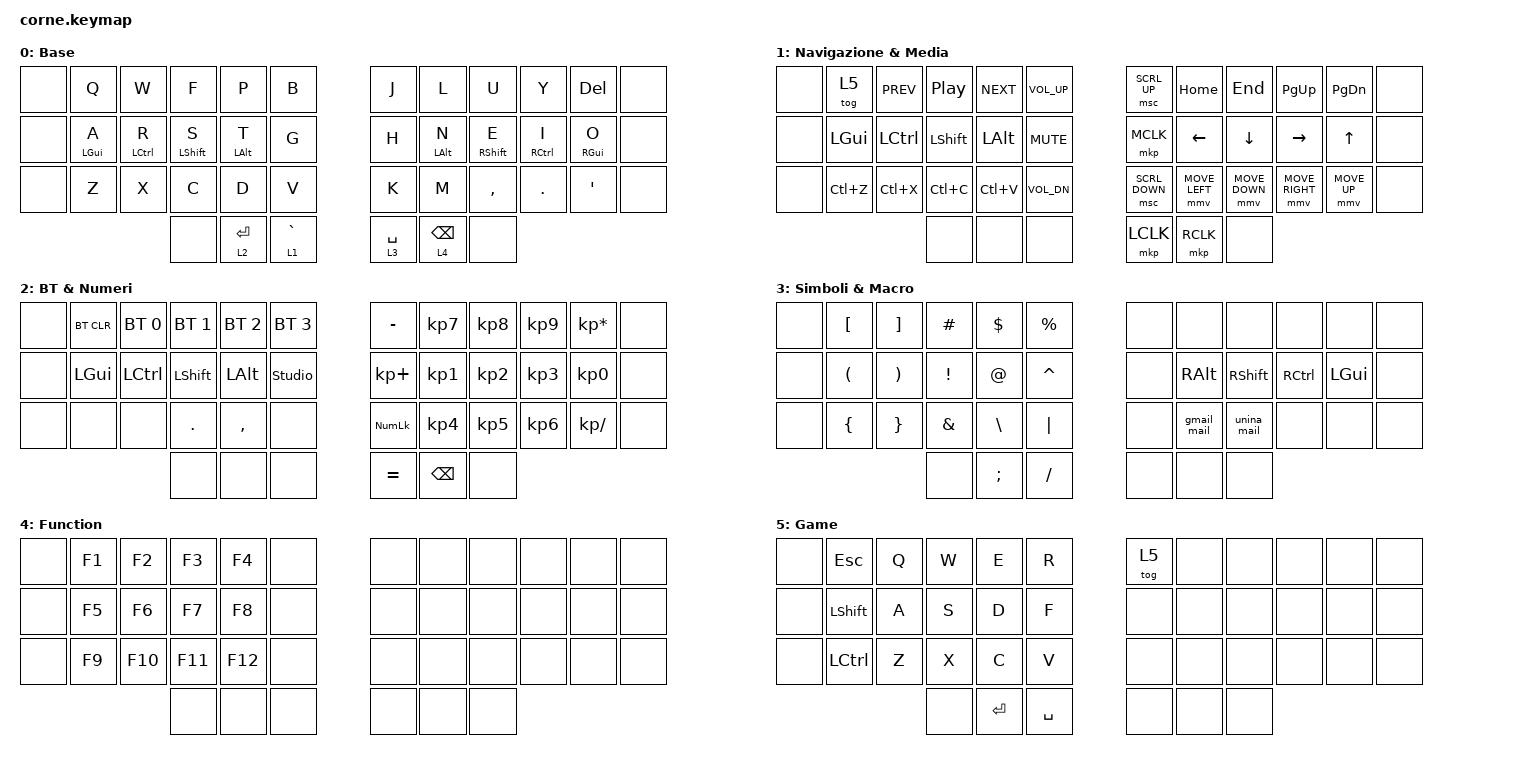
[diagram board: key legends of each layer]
/*
 * Copyright (c) 2020 The ZMK Contributors
 *
 * SPDX-License-Identifier: MIT
 */

#include <behaviors.dtsi>
#include <dt-bindings/zmk/keys.h>
#include <dt-bindings/zmk/bt.h>
#include <dt-bindings/zmk/pointing.h>

#define default_layer 0
#define navmed_layer 1
#define btnump_layer 2
#define symbol_layer 3
#define function_layer 4
#define game_layer 5

/ {
    combos {
        compatible = "zmk,combos";
        combo_esc {
            timeout-ms = <50>;
            key-positions = <3 4>;
            bindings = <&kp ESC>;
        };
        combo_tab {
            timeout-ms = <50>;
            key-positions = <2 3>;
            bindings = <&kp TAB>;
        };
        combo_caps {
            timeout-ms = <50>;
            key-positions = <2 3 4>;
            bindings = <&kp CAPS>;
        };
    }; 
    
    behaviors {
        hm: homerow_mods {
            compatible = "zmk,behavior-hold-tap";
            label = "HOMEROW_MODS";
            #binding-cells = <2>;
            tapping-term-ms = <200>;
            quick-tap-ms = <0>;
            flavor = "tap-preferred";
            bindings = <&kp>, <&kp>;
        };
    };
    
    macros {
        ZMK_MACRO(gmail_mail,
            tap-ms = <30>;
            bindings
                = <&kp D &kp E &kp S &kp A &kp N &kp F &kp R &kp A &kp N>
                , <&kp AT>
                , <&kp G &kp M &kp A &kp I &kp L>
                , <&kp DOT>
                , <&kp C &kp O &kp M>
                ;
        )
        ZMK_MACRO(unina_mail,
            tap-ms = <30>;
            bindings
                = <&kp F &kp R &kp A &kp N &kp C &kp E &kp S &kp C &kp O>
                , <&kp DOT>
                , <&kp D &kp E &kp S &kp A &kp N &kp T &kp I &kp S &kp KP_N2>
                , <&kp AT>
                , <&kp U &kp N &kp I &kp N &kp A>
                , <&kp DOT>
                , <&kp I &kp T>
                ;
        )
    };

    keymap {
        compatible = "zmk,keymap";
        
                default_layer {
                        display-name = "Base";
                        bindings = <
   &none  &kp Q      &kp W       &kp F       &kp P       &kp B          &kp J       &kp L       &kp U       &kp Y       &kp DEL    &none
   &none  &hm LGUI A &hm LCTRL R &hm LSHFT S &hm LALT T  &kp G          &kp H       &hm LALT N  &hm RSHFT E &hm RCTRL I &hm RGUI O &none
   &none  &kp Z      &kp X       &kp C       &kp D       &kp V          &kp K       &kp M       &kp COMMA   &kp DOT     &kp APOS   &none
                                 &none       &lt 2 RET   &lt 1 GRAVE    &lt 3 SPACE &lt 4 BSPC  &none
                        >;
                };
                
                navmed_layer {
                        display-name = "Navigazione & Media";
                        bindings = <
   &none  &tog 5     &kp C_PREV  &kp C_PP   &kp C_NEXT  &kp C_VOL_UP    &msc SCRL_UP    &kp HOME        &kp END         &kp PG_UP        &kp PG_DN     &none
   &none  &kp LGUI   &kp LCTRL   &kp LSHFT  &kp LALT    &kp C_MUTE      &mkp MCLK       &kp LEFT        &kp DOWN        &kp RIGHT        &kp UP        &none
   &none  &kp LC(Z)  &kp LC(X)   &kp LC(C)  &kp LC(V)   &kp C_VOL_DN    &msc SCRL_DOWN  &mmv MOVE_LEFT  &mmv MOVE_DOWN  &mmv MOVE_RIGHT  &mmv MOVE_UP  &none
                   	             &none      &none       &none           &mkp LCLK       &mkp RCLK       &none
                        >;
                };
                
                btnump_layer {
                        display-name = "BT & Numeri";
                        bindings = <
   &none &bt BT_CLR &bt BT_SEL 0 &bt BT_SEL 1 &bt BT_SEL 2 &bt BT_SEL 3      &kp MINUS   &kp KP_N7 &kp KP_N8 &kp KP_N9 &kp KP_MULTIPLY &none
   &none &kp LGUI   &kp LCTRL    &kp LSHFT    &kp LALT     &studio_unlock    &kp KP_PLUS &kp KP_N1 &kp KP_N2 &kp KP_N3 &kp KP_N0       &none
   &none &none      &none        &kp DOT      &kp COMMA    &none             &kp KP_NUM  &kp KP_N4 &kp KP_N5 &kp KP_N6 &kp KP_DIVIDE   &none
                                 &none        &none        &none             &kp EQUAL   &kp BSPC  &none
                        >;
                };

                symbol_layer {
                        display-name = "Simboli & Macro";
                        bindings = <
   &none &kp LBKT &kp RBKT &kp HASH &kp DLLR &kp PRCNT   &none &none       &none       &none     &none    &none
   &none &kp LPAR &kp RPAR &kp EXCL &kp AT   &kp CARET   &none &kp RALT    &kp RSHFT   &kp RCTRL &kp LGUI &none
   &none &kp LBRC &kp RBRC &kp AMPS &kp BSLH &kp PIPE    &none &gmail_mail &unina_mail &none     &none    &none
                    	   &none    &kp SEMI &kp FSLH    &none &none       &none
                        >;
                };
                
                function_layer {
                        display-name = "Function";
                        bindings = <
   &none &kp F1 &kp F2  &kp F3  &kp F4  &none   &none &none &none &none &none &none
   &none &kp F5 &kp F6  &kp F7  &kp F8  &none   &none &none &none &none &none &none
   &none &kp F9 &kp F10 &kp F11 &kp F12 &none   &none &none &none &none &none &none
                    	&none   &none   &none   &none &none &none
                        >;
                };
                
                game_layer {
                        display-name = "Game";
                        bindings = <
   &none &kp ESC   &kp Q &kp W &kp E     &kp R         &tog 5 &none &none &none &none &none
   &none &kp LSHFT &kp A &kp S &kp D     &kp F         &none  &none &none &none &none &none
   &none &kp LCTRL &kp Z &kp X &kp C     &kp V         &none  &none &none &none &none &none
                         &none &kp ENTER &kp SPACE         &none  &none &none
                        >;
                };
        };
};

